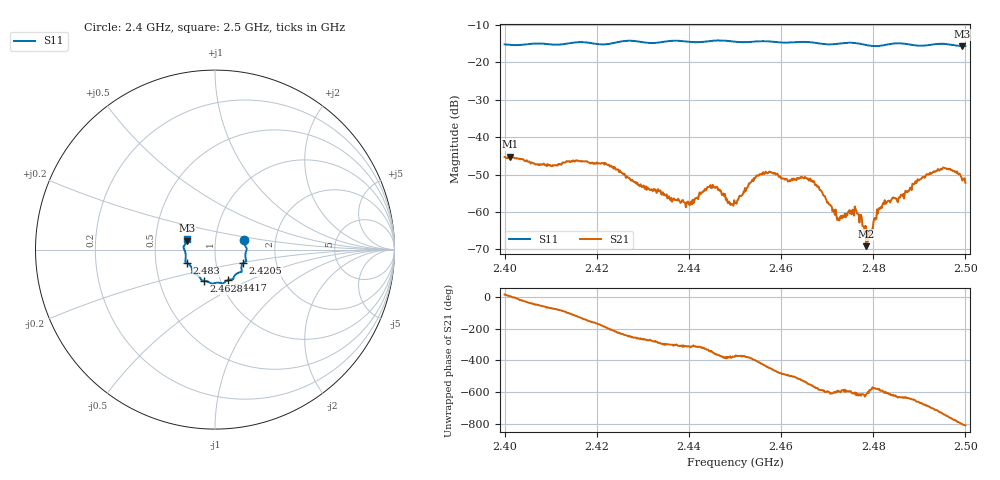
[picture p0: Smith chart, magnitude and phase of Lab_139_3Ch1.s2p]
# Hz S RI R 50
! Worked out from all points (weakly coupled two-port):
!   601 points, 2.4 GHz to 2.5 GHz, reference 50 ohm
!   highest |S21| = -45.18 dB at 2.4012 GHz (marker M1); lowest = -69.1 dB at 2.4785 GHz (marker M2)
!   lowest |S11| = -15.7 dB at 2.4993 GHz (marker M3), VSWR 1.39, Z = 36.3 + j3.67 ohm
!   |S11| at or under -10 dB: start of sweep to end of sweep
!   S12 and S22 are empty: the file has one direction only
!   S11 on the Smith chart (normalised r, x): 2.4 GHz: 1.38, +0.16; 2.4205 GHz: 1.35, -0.21; 2.4417 GHz: 1.08, -0.38; 2.4628 GHz: 0.83, -0.30; 2.483 GHz: 0.73, -0.11; 2.5 GHz: 0.73, +0.09
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2.4e9  0.1637 0.056  0.00517 0.00161  0 0  0 0
2.401167e9  0.1641 0.0446  0.00547 0.00065  0 0  0 0
2.410167e9  0.1718 -0.0135  0.00148 -0.00382  0 0  0 0
2.416667e9  0.1739 -0.0633  -0.00314 -0.00352  0 0  0 0
2.4205e9  0.1554 -0.0766  -0.00443 -0.000688  0 0  0 0
2.433333e9  0.1072 -0.1476  0.000674 0.00191  0 0  0 0
2.439667e9  0.0886 -0.1656  0.00093 0.00101  0 0  0 0
2.441667e9  0.0718 -0.1699  0.00105 0.00112  0 0  0 0
2.445667e9  0.0484 -0.1878  0.00213 1.48e-05  0 0  0 0
2.45e9  0.0289 -0.1853  0.00126 -0.000378  0 0  0 0
2.455667e9  -0.0135 -0.19  0.00157 -0.00282  0 0  0 0
2.462833e9  -0.0627 -0.1734  -0.00218 -0.00161  0 0  0 0
2.466667e9  -0.0772 -0.1667  -0.00248 0.000901  0 0  0 0
2.4725e9  -0.1143 -0.1344  -0.000441 0.000639  0 0  0 0
2.476333e9  -0.1271 -0.1267  -0.000427 0.000943  0 0  0 0
2.4785e9  -0.1275 -0.1113  -9.57e-05 0.000337  0 0  0 0
2.479e9  -0.1284 -0.1067  -0.000216 0.000499  0 0  0 0
2.483e9  -0.1542 -0.0751  -0.000498 0.00127  0 0  0 0
2.483333e9  -0.1566 -0.0738  -0.000538 0.00131  0 0  0 0
2.495e9  -0.1752 0.0145  0.00361 -0.00109  0 0  0 0
2.499333e9  -0.1561 0.0492  0.000245 -0.00261  0 0  0 0
2.5e9  -0.1538 0.0575  -8.06e-05 -0.00245  0 0  0 0
